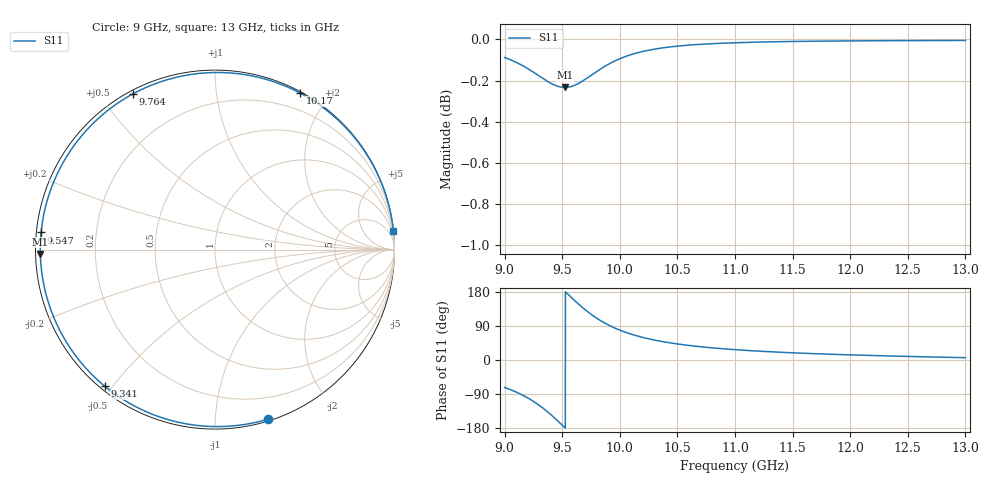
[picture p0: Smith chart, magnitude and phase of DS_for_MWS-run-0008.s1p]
! TOUCHSTONE file generated by CST DESIGN STUDIO
! Date and time: Tue Feb  4 12:36:36 2025
! Project name: C:\Work\MatlabApps\UnitCellOptimizationMatlab\CST\unitcell.cst
! Tree item: Tasks\Sweep1\SPara1\S-Parameters
! Header version: 2024
! Port assignment regex: !\s*Touchstone port\s*([0-9]+)\s*=\s*(CST MWS port|CST DES external port|CST DES block port)\s*(.+)\s* \(\"(.*)\"\)(\s*mode\s*([0-9]+))?.*
! Touchstone port assignment:
! Touchstone port 1 = CST DES external port 1 ("")
# GHz S MA R 50
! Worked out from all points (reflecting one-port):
!   4001 points, 9 GHz to 13 GHz, reference 50 ohm
!   lowest |S11| = -0.2 dB at 9.523 GHz (marker M1), VSWR 74.45, Z = 0.672 - j0.607 ohm
!   phase of S11 starts at -73 deg and turns -281 deg over the sweep
!   S11 on the Smith chart (normalised r, x): 9 GHz: 0.01, -1.36; 9.341 GHz: 0.01, -0.48; 9.547 GHz: 0.01, +0.05; 9.764 GHz: 0.01, +0.60; 10.17 GHz: 0.01, +1.68; 13 GHz: 0, +19
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9  0.9899 -72.6
9.094  0.9874 -83.7
9.2  0.9838 -99.9
9.274  0.9808 -114.0
9.341  0.978 -128.9
9.384  0.9763 -139.7
9.429  0.9749 -151.7
9.5  0.9736 -171.9
9.523  0.9735 -178.6
9.547  0.9736 174.4
9.601  0.9745 158.8
9.662  0.9764 142.1
9.713  0.9785 129.3
9.764  0.9807 117.7
9.814  0.9828 107.5
9.868  0.985 97.7
9.934  0.9873 87.5
10  0.9892 78.8
10.084  0.9912 69.6
10.174  0.9929 61.5
10.323  0.9948 51.3
10.5  0.9962 42.3
10.722  0.9973 34.3
11  0.9981 27.3
11.5  0.9988 19.0
12  0.9992 13.5
12.5  0.9993 9.4
13  0.9994 6.1
